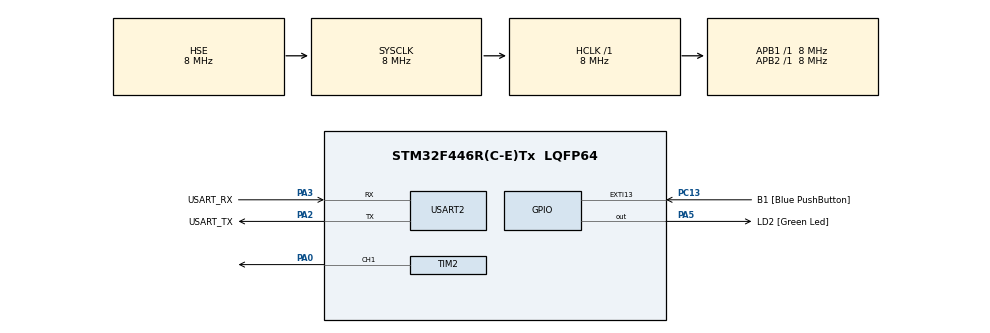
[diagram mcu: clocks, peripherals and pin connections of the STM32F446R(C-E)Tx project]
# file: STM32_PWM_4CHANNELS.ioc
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Mcu.Family=STM32F4
Mcu.Name=STM32F446R(C-E)Tx
Mcu.Package=LQFP64
NVIC.PriorityGroup=NVIC_PRIORITYGROUP_0
NVIC.TIM2_IRQn=true\:0\:0\:false\:false\:true\:true\:true\:true
PA0-WKUP.Signal=S_TIM2_CH1_ETR
PA13.GPIO_Label=TMS
PA13.Mode=Serial_Wire
PA13.Signal=SYS_JTMS-SWDIO
PA14.GPIO_Label=TCK
PA14.Mode=Serial_Wire
PA14.Signal=SYS_JTCK-SWCLK
PA2.GPIO_Label=USART_TX
PA2.Mode=Asynchronous
PA2.Signal=USART2_TX
PA3.GPIO_Label=USART_RX
PA3.Mode=Asynchronous
PA3.Signal=USART2_RX
PA5.GPIO_Label=LD2 [Green Led]
PA5.Signal=GPIO_Output
PB3.GPIO_Label=SWO
PB3.Signal=SYS_JTDO-SWO
PC13.GPIO_Label=B1 [Blue PushButton]
PC13.GPIO_ModeDefaultEXTI=GPIO_MODE_IT_FALLING
PC13.Signal=GPXTI13
PC14-OSC32_IN.Mode=LSE-External-Oscillator
PC14-OSC32_IN.Signal=RCC_OSC32_IN
PC15-OSC32_OUT.Mode=LSE-External-Oscillator
PC15-OSC32_OUT.Signal=RCC_OSC32_OUT
PH0-OSC_IN.Mode=HSE-External-Oscillator
PH0-OSC_IN.Signal=RCC_OSC_IN
PH1-OSC_OUT.Mode=HSE-External-Oscillator
PH1-OSC_OUT.Signal=RCC_OSC_OUT
ProjectManager.HeapSize=0x200
ProjectManager.StackSize=0x400
ProjectManager.TargetToolchain=STM32CubeIDE
RCC.48MHZClocksFreq_Value=84000000
RCC.AHBFreq_Value=8000000
RCC.APB1Freq_Value=8000000
RCC.APB1TimFreq_Value=8000000
RCC.APB2Freq_Value=8000000
RCC.APB2TimFreq_Value=8000000
RCC.CortexFreq_Value=8000000
RCC.FLatency-AdvancedSettings=FLASH_LATENCY_0
RCC.HCLKFreq_Value=8000000
RCC.HSE_VALUE=8000000
RCC.HSI_VALUE=16000000
RCC.PLLN=336
RCC.PLLP=RCC_PLLP_DIV4
RCC.PLLSourceVirtual=RCC_PLLSOURCE_HSE
RCC.SYSCLKFreq_VALUE=8000000
RCC.SYSCLKSource=RCC_SYSCLKSOURCE_HSE
RCC.USBFreq_Value=84000000
RCC.VCOOutputFreq_Value=168000000
SH.S_TIM2_CH1_ETR.0=TIM2_CH1,PWM Generation1 CH1
TIM2.Channel-PWM\ Generation1\ CH1=TIM_CHANNEL_1
USART2.VirtualMode=VM_ASYNC
board=NUCLEO-F446RE

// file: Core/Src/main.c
/* USER CODE BEGIN Header */
/**
  ******************************************************************************
  * @file           : main.c
  * @brief          : Main program body
  ******************************************************************************
  * @attention
  *
  * Copyright (c) 2024 STMicroelectronics.
  * All rights reserved.
  *
  * This software is licensed under terms that can be found in the LICENSE file
  * in the root directory of this software component.
  * If no LICENSE file comes with this software, it is provided AS-IS.
  *
  ******************************************************************************
  */
/* USER CODE END Header */
#include "main.h"

TIM_HandleTypeDef htim2;

UART_HandleTypeDef huart2;

void SystemClock_Config(void);
static void MX_GPIO_Init(void);
static void MX_USART2_UART_Init(void);
static void MX_TIM2_Init(void);

int main(void)
{

  /* MCU Configuration--------------------------------------------------------*/

  /* Reset of all peripherals, Initializes the Flash interface and the Systick. */
  HAL_Init();

  /* Configure the system clock */
  SystemClock_Config();

  /* Initialize all configured peripherals */
  MX_GPIO_Init();
  MX_USART2_UART_Init();
  MX_TIM2_Init();
  /* USER CODE BEGIN 2 */
  if(HAL_TIM_PWM_Init(&htim2) != HAL_OK) Error_Handler();

  if(HAL_TIM_PWM_Start(&htim2, TIM_CHANNEL_1) != HAL_OK)
  {
	  Error_Handler();
  }

  if(HAL_TIM_PWM_Start(&htim2, TIM_CHANNEL_2) != HAL_OK)
  {
	  Error_Handler();
  }

  if(HAL_TIM_PWM_Start(&htim2, TIM_CHANNEL_3) != HAL_OK)
  {
	  Error_Handler();
  }

  if(HAL_TIM_PWM_Start(&htim2, TIM_CHANNEL_4) != HAL_OK)
  {
	  Error_Handler();
  }
  /* USER CODE END 2 */

  /* Infinite loop */
  while (1)
  {

  }
}

void SystemClock_Config(void)
{
  RCC_OscInitTypeDef RCC_OscInitStruct = {0};
  RCC_ClkInitTypeDef RCC_ClkInitStruct = {0};

  /** Configure the main internal regulator output voltage
  */
  __HAL_RCC_PWR_CLK_ENABLE();
  __HAL_PWR_VOLTAGESCALING_CONFIG(PWR_REGULATOR_VOLTAGE_SCALE3);

  /** Initializes the RCC Oscillators according to the specified parameters
  * in the RCC_OscInitTypeDef structure.
  */
  RCC_OscInitStruct.OscillatorType = RCC_OSCILLATORTYPE_HSE;
  RCC_OscInitStruct.HSEState = RCC_HSE_ON;
  RCC_OscInitStruct.PLL.PLLState = RCC_PLL_NONE;
  if (HAL_RCC_OscConfig(&RCC_OscInitStruct) != HAL_OK)
  {
    Error_Handler();
  }

  /** Initializes the CPU, AHB and APB buses clocks
  */
  RCC_ClkInitStruct.ClockType = RCC_CLOCKTYPE_HCLK|RCC_CLOCKTYPE_SYSCLK
                              |RCC_CLOCKTYPE_PCLK1|RCC_CLOCKTYPE_PCLK2;
  RCC_ClkInitStruct.SYSCLKSource = RCC_SYSCLKSOURCE_HSE;
  RCC_ClkInitStruct.AHBCLKDivider = RCC_SYSCLK_DIV1;
  RCC_ClkInitStruct.APB1CLKDivider = RCC_HCLK_DIV1;
  RCC_ClkInitStruct.APB2CLKDivider = RCC_HCLK_DIV1;

  if (HAL_RCC_ClockConfig(&RCC_ClkInitStruct, FLASH_LATENCY_0) != HAL_OK)
  {
    Error_Handler();
  }
}

static void MX_TIM2_Init(void)
{

  TIM_MasterConfigTypeDef sMasterConfig = {0};
  TIM_OC_InitTypeDef sConfigOC = {0};

  htim2.Instance = TIM2;
  htim2.Init.Prescaler = 8000;
  htim2.Init.CounterMode = TIM_COUNTERMODE_UP;
  htim2.Init.Period = 1000 - 1;
  htim2.Init.ClockDivision = TIM_CLOCKDIVISION_DIV1;
  htim2.Init.AutoReloadPreload = TIM_AUTORELOAD_PRELOAD_DISABLE;
  if (HAL_TIM_PWM_Init(&htim2) != HAL_OK)
  {
    Error_Handler();
  }
  sMasterConfig.MasterOutputTrigger = TIM_TRGO_RESET;
  sMasterConfig.MasterSlaveMode = TIM_MASTERSLAVEMODE_DISABLE;
  if (HAL_TIMEx_MasterConfigSynchronization(&htim2, &sMasterConfig) != HAL_OK)
  {
    Error_Handler();
  }
  sConfigOC.OCMode = TIM_OCMODE_PWM1;
  sConfigOC.OCPolarity = TIM_OCPOLARITY_HIGH;
  sConfigOC.OCFastMode = TIM_OCFAST_DISABLE;

  sConfigOC.Pulse = htim2.Init.Period * 0.25;
  if (HAL_TIM_PWM_ConfigChannel(&htim2, &sConfigOC, TIM_CHANNEL_1) != HAL_OK)
  {
    Error_Handler();
  }
  /* USER CODE BEGIN TIM2_Init 2 */
  sConfigOC.Pulse = htim2.Init.Period * 0.45;
  if (HAL_TIM_PWM_ConfigChannel(&htim2, &sConfigOC, TIM_CHANNEL_2) != HAL_OK)
  {
    Error_Handler();
  }

  sConfigOC.Pulse = htim2.Init.Period * 0.5;
  if (HAL_TIM_PWM_ConfigChannel(&htim2, &sConfigOC, TIM_CHANNEL_3) != HAL_OK)
  {
    Error_Handler();
  }

  sConfigOC.Pulse = htim2.Init.Period * 0.75;
  if (HAL_TIM_PWM_ConfigChannel(&htim2, &sConfigOC, TIM_CHANNEL_4) != HAL_OK)
  {
    Error_Handler();
  }
  /* USER CODE END TIM2_Init 2 */
  HAL_TIM_MspPostInit(&htim2);

}

static void MX_USART2_UART_Init(void)
{

  huart2.Instance = USART2;
  huart2.Init.BaudRate = 115200;
  huart2.Init.WordLength = UART_WORDLENGTH_8B;
  huart2.Init.StopBits = UART_STOPBITS_1;
  huart2.Init.Parity = UART_PARITY_NONE;
  huart2.Init.Mode = UART_MODE_TX_RX;
  huart2.Init.HwFlowCtl = UART_HWCONTROL_NONE;
  huart2.Init.OverSampling = UART_OVERSAMPLING_16;
  if (HAL_UART_Init(&huart2) != HAL_OK)
  {
    Error_Handler();
  }

}

static void MX_GPIO_Init(void)
{
  GPIO_InitTypeDef GPIO_InitStruct = {0};

  /* GPIO Ports Clock Enable */
  __HAL_RCC_GPIOC_CLK_ENABLE();
  __HAL_RCC_GPIOH_CLK_ENABLE();
  __HAL_RCC_GPIOA_CLK_ENABLE();
  __HAL_RCC_GPIOB_CLK_ENABLE();

  /*Configure GPIO pin Output Level */
  HAL_GPIO_WritePin(LD2_GPIO_Port, LD2_Pin, GPIO_PIN_RESET);

  /*Configure GPIO pin : B1_Pin */
  GPIO_InitStruct.Pin = B1_Pin;
  GPIO_InitStruct.Mode = GPIO_MODE_IT_FALLING;
  GPIO_InitStruct.Pull = GPIO_NOPULL;
  HAL_GPIO_Init(B1_GPIO_Port, &GPIO_InitStruct);

  /*Configure GPIO pin : LD2_Pin */
  GPIO_InitStruct.Pin = LD2_Pin;
  GPIO_InitStruct.Mode = GPIO_MODE_OUTPUT_PP;
  GPIO_InitStruct.Pull = GPIO_NOPULL;
  GPIO_InitStruct.Speed = GPIO_SPEED_FREQ_LOW;
  HAL_GPIO_Init(LD2_GPIO_Port, &GPIO_InitStruct);

}

void Error_Handler(void)
{
  __disable_irq();
  while (1)
  {
  }
}
